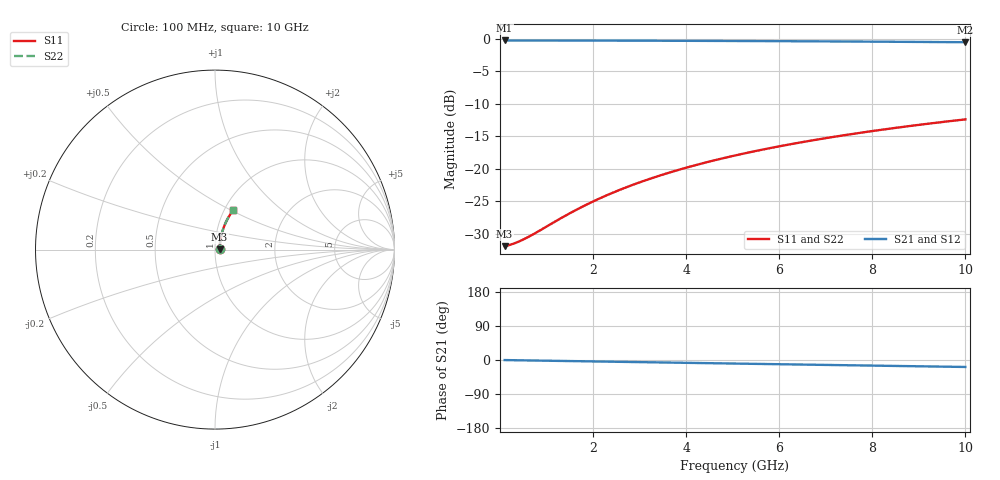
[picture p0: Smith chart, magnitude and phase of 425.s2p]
# Hz S RI R 50.00
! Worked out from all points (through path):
!   100 points, 100 MHz to 10 GHz, reference 50 ohm
!   highest |S21| = -0.22 dB at 100 MHz (marker M1); lowest = -0.5 dB at 10 GHz (marker M2)
!   group delay of S21, straight-line fit = 5.11 ps
!   lowest |S11| = -31.9 dB at 100 MHz (marker M3), VSWR 1.05, Z = 52.6 + j0.252 ohm
!   |S11| at or under -10 dB: start of sweep to end of sweep
!   |S22| runs from -31.9 to -12.4 dB; largest |S21 - S12| = 0
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1e8  0.0252 0.0024  0.9748 -0.00318  0.9748 -0.00318  0.0252 0.0024
2e8  0.0254 0.00479  0.9746 -0.00637  0.9746 -0.00637  0.0254 0.00479
3e8  0.0256 0.00718  0.9744 -0.00955  0.9744 -0.00955  0.0256 0.00718
4e8  0.0257 0.00957  0.9743 -0.0127  0.9743 -0.0127  0.0257 0.00957
6e8  0.026 0.0144  0.9739 -0.0191  0.9739 -0.0191  0.026 0.0144
8e8  0.0264 0.0191  0.9736 -0.0254  0.9736 -0.0254  0.0264 0.0191
1.4e9  0.0277 0.0334  0.9722 -0.0445  0.9722 -0.0445  0.0277 0.0334
1.8e9  0.0288 0.0429  0.9711 -0.0571  0.9711 -0.0571  0.0288 0.0429
2.2e9  0.0302 0.0523  0.9697 -0.0697  0.9697 -0.0697  0.0302 0.0523
2.6e9  0.0318 0.0617  0.968 -0.0823  0.968 -0.0823  0.0318 0.0617
3e9  0.0336 0.0711  0.9661 -0.0948  0.9661 -0.0948  0.0336 0.0711
3.4e9  0.0357 0.0803  0.964 -0.1072  0.964 -0.1072  0.0357 0.0803
3.8e9  0.0379 0.0895  0.9616 -0.1196  0.9616 -0.1196  0.0379 0.0895
4.2e9  0.0405 0.0987  0.959 -0.1319  0.959 -0.1319  0.0405 0.0987
4.6e9  0.0432 0.1077  0.9561 -0.1441  0.9561 -0.1441  0.0432 0.1077
5.1e9  0.0469 0.1189  0.9522 -0.1592  0.9522 -0.1592  0.0469 0.1189
5.9e9  0.0537 0.1365  0.9452 -0.1831  0.9452 -0.1831  0.0537 0.1365
6.7e9  0.0612 0.1536  0.9373 -0.2066  0.9373 -0.2066  0.0612 0.1536
7.5e9  0.0696 0.1702  0.9286 -0.2296  0.9286 -0.2296  0.0696 0.1702
8.4e9  0.0799 0.1882  0.9178 -0.2548  0.9178 -0.2548  0.0799 0.1882
9.2e9  0.0899 0.2036  0.9074 -0.2766  0.9074 -0.2766  0.0899 0.2036
1e10  0.1005 0.2183  0.8962 -0.2977  0.8962 -0.2977  0.1005 0.2183
